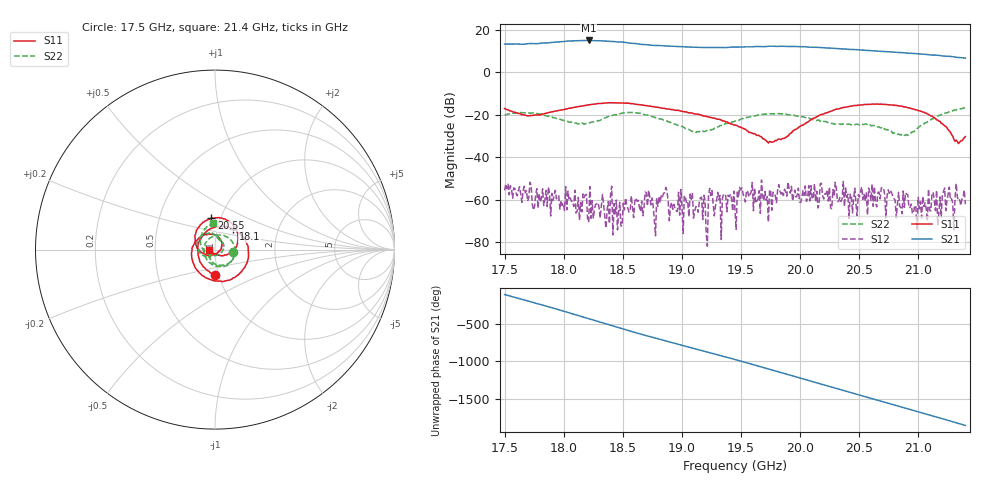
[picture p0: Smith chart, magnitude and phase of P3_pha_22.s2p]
!Created with skrf (http://scikit-rf.org).
# GHz S RI R 50.0
!freq ReS11 ImS11 ReS21 ImS21 ReS12 ImS12 ReS22 ImS22
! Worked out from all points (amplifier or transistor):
!   401 points, 17.5 GHz to 21.4 GHz, reference 50 ohm
!   highest |S21| = 15.1 dB at 18.21 GHz (marker M1)
!   |S21| within 3 dB of that: start of sweep to 19.02 GHz (the widest 1 of 2)
!   unconditionally stable (mu >= 1): start of sweep to end of sweep
!   at 18.14 GHz: K = 100.05, MAG = 15.1 dB, |S12| = -61.3 dB
!   at 19.45 GHz: K = 225.92, MAG = 12.0 dB, |S12| = -65.1 dB
!   at 21.4 GHz: K = 284.82, MAG = 6.9 dB, |S12| = -62.1 dB
!   S11 on the Smith chart (normalised r, x): 17.5 GHz: 0.96, -0.28; 18.1 GHz: 1.19, +0.28; 20.55 GHz: 0.90, +0.33; 21.4 GHz: 0.94, -0.00
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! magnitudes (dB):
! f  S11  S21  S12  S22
! 17.5 GHz  -17.0  13.4  -55.6  -20.1
! 18.1 GHz  -16.3  15.0  -66.3  -23.8
! 18.15 GHz  -15.9  15.0  -65.7  -23.9
! 18.21 GHz  -15.3  15.1  -70.6  -23.8
! 18.37 GHz  -14.3  14.7  -65.0  -21.1
! 18.39 GHz  -14.3  14.7  -71.2  -20.6
! 18.48 GHz  -14.4  14.4  -61.3  -19.4
! 18.71 GHz  -15.7  13.1  -62.9  -20.1
! 18.78 GHz  -16.4  12.7  -77.0  -21.3
! 18.81 GHz  -16.5  12.7  -58.4  -21.7
! 19.18 GHz  -20.4  11.8  -69.3  -27.7
! 19.2 GHz  -20.6  11.8  -60.2  -27.8
! 19.25 GHz  -21.3  11.7  -58.0  -27.1
! 19.45 GHz  -24.8  11.9  -65.1  -22.9
! 19.49 GHz  -25.6  11.9  -54.1  -22.3
! 19.75 GHz  -32.7  12.4  -56.1  -19.5
! 20.1 GHz  -21.9  11.9  -59.7  -22.1
! 20.55 GHz  -15.1  10.4  -60.7  -24.3
! 20.76 GHz  -15.2  9.7  -57.0  -27.4
! 20.97 GHz  -17.4  8.9  -62.6  -27.6
! 21.14 GHz  -21.3  8.2  -60.3  -21.2
! 21.4 GHz  -30.2  6.8  -62.1  -16.6
